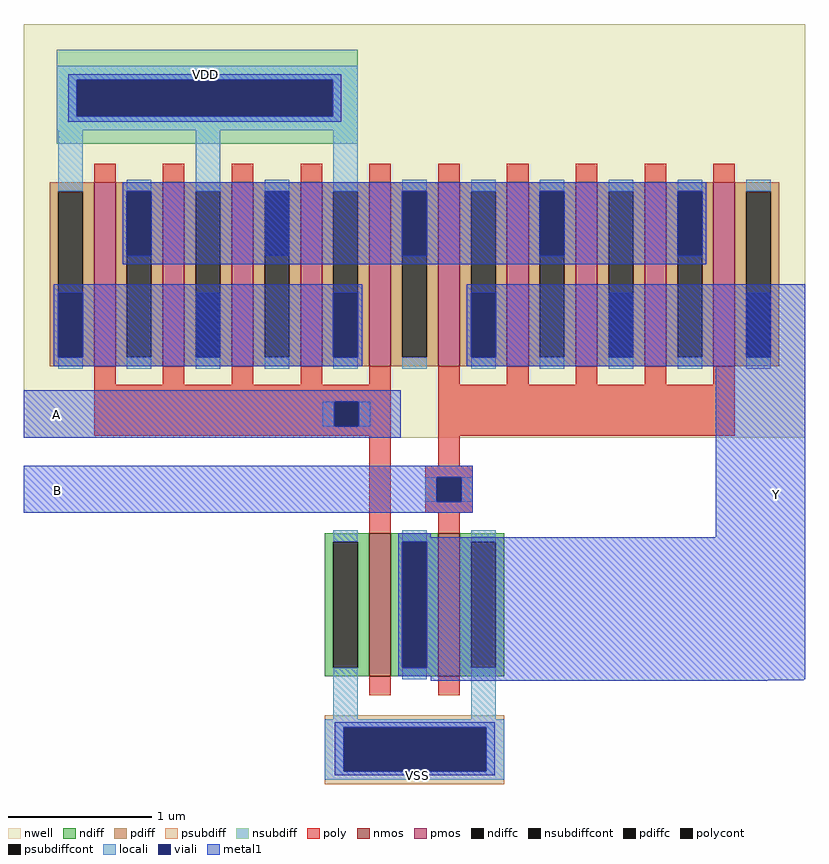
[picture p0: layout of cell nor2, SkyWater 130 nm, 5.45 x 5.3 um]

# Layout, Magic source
magic
tech sky130B
magscale 1 2
<< nwell >>
rect 0 459 1090 580
rect 1 396 1090 459
rect 42 350 486 396
<< psubdiff >>
rect 420 -401 670 -384
rect 420 -462 446 -401
rect 645 -462 670 -401
rect 420 -480 670 -462
<< nsubdiff >>
rect 46 502 466 544
rect 46 451 74 502
rect 431 451 466 502
rect 46 413 466 451
<< psubdiffcont >>
rect 446 -462 645 -401
<< nsubdiffcont >>
rect 74 451 431 502
<< poly >>
rect 417 19 433 53
rect 467 19 483 53
rect 482 -114 512 6
rect 578 -36 608 6
rect 560 -52 626 -36
rect 560 -86 576 -52
rect 610 -86 626 -52
rect 560 -102 626 -86
rect 578 -113 608 -102
<< polycont >>
rect 433 19 467 53
rect 576 -86 610 -52
<< locali >>
rect 46 502 466 522
rect 46 451 74 502
rect 431 451 466 502
rect 46 432 466 451
rect 48 363 82 432
rect 240 363 274 432
rect 432 363 466 432
rect 417 19 433 53
rect 467 19 483 53
rect 560 -86 576 -52
rect 610 -86 626 -52
rect 432 -390 466 -334
rect 624 -390 658 -334
rect 420 -401 670 -390
rect 420 -462 446 -401
rect 645 -462 670 -401
rect 420 -474 670 -462
<< viali >>
rect 74 451 431 502
rect 433 19 467 53
rect 576 -86 610 -52
rect 446 -462 645 -401
<< metal1 >>
rect 62 502 443 510
rect 62 451 74 502
rect 431 451 443 502
rect 62 444 443 451
rect 184 245 522 359
rect 568 245 714 359
rect 760 245 906 359
rect 88 103 426 217
rect 664 103 1090 217
rect 0 53 526 69
rect 0 19 433 53
rect 467 19 526 53
rect 0 3 526 19
rect 0 -52 626 -36
rect 0 -86 576 -52
rect 610 -86 626 -52
rect 0 -102 626 -86
rect 965 -136 1090 103
rect 568 -334 1090 -136
rect 568 -335 1088 -334
rect 568 -336 1037 -335
rect 434 -401 657 -394
rect 434 -462 446 -401
rect 645 -462 657 -401
rect 434 -468 657 -462
use sky130_fd_pr__nfet_01v8_LZEQWH  sky130_fd_pr__nfet_01v8_LZEQWH_0
transform -1 0 545 0 -1 -230
box -125 -126 125 126
use sky130_fd_pr__pfet_01v8_UFBY79  sky130_fd_pr__pfet_01v8_UFBY79_0
transform 1 0 545 0 1 231
box -545 -228 545 228
<< labels >>
flabel metal1 7 10 84 62 1 FreeSerif 320 0 0 0 A
port 1 e
rlabel metal1 253 510 253 510 5 VDD
port 4 s
flabel metal1 8 -96 85 -44 1 FreeSerif 320 0 0 0 B
port 2 e
flabel metal1 1012 -102 1089 -50 1 FreeSerif 320 0 0 0 Y
port 5 e
rlabel metal1 549 -468 549 -468 5 VSS
port 3 s
<< end >>

# cell sky130_fd_pr__nfet_01v8_LZEQWH: kit device sky130_fd_pr__nfet_01v8, w 1 l 0.15 m 1 nf 2 diffcov 100 polycov 100 guard 0 glc 1 grc 1 gtc 1 gbc 1 tbcov 100 rlcov 100 topc 1 botc 0 poverlap 0 doverlap 1 lmin 0.15 wmin 0.42 compatible {sky130_fd_pr__nfet_01v8 sky130_fd_pr__nfet_01v8_lvt sky130_fd_bs_flash__special_sonosfet_star sky130_fd_pr__nfet_g5v0d10v5 sky130_fd_pr__nfet_05v0_nvt sky130_fd_pr__nfet_03v3_nvt} full_metal 1 viasrc 100 viadrn 100 viagate 0 viagb 0 viagr 0 viagl 0 viagt 0

# cell sky130_fd_pr__pfet_01v8_UFBY79: kit device sky130_fd_pr__pfet_01v8, w 1.284 l 0.15 m 1 nf 10 diffcov 100 polycov 100 guard 0 glc 1 grc 1 gtc 1 gbc 1 tbcov 100 rlcov 100 topc 0 botc 0 poverlap 0 doverlap 1 lmin 0.15 wmin 0.42 compatible {sky130_fd_pr__pfet_01v8 sky130_fd_pr__pfet_01v8_lvt sky130_fd_pr__pfet_01v8_hvt sky130_fd_pr__pfet_g5v0d10v5} full_metal 0 viasrc 100 viadrn 100 viagate 0 viagb 0 viagr 0 viagl 0 viagt 0
